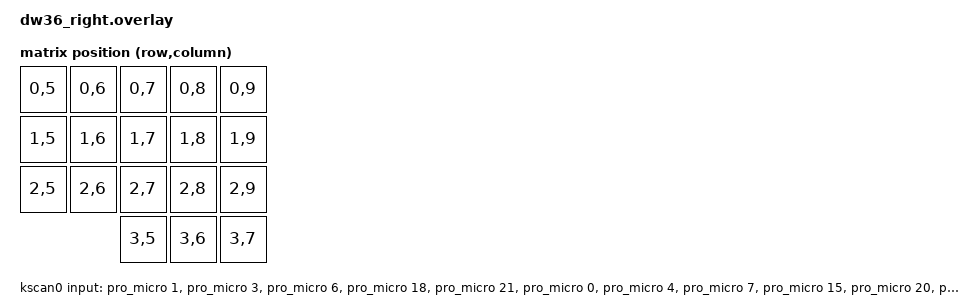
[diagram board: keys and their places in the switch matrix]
/*
 * Copyright (c) 2020 The ZMK Contributors
 *
 * SPDX-License-Identifier: MIT
 */

#include <dt-bindings/zmk/matrix_transform.h>

/ {
    chosen {
        zmk,kscan = &kscan0;
        zmk,matrix_transform = &default_transform;
    };

    default_transform: keymap_transform_0 {
        compatible = "zmk,matrix-transform";
        columns = <10>;
        rows = <4>;
// The keymap expects a unified layout, but each half will contribute its portion
        map = <
  RC(0,5) RC(0,6) RC(0,7) RC(0,8) RC(0,9)
  RC(1,5) RC(1,6) RC(1,7) RC(1,8) RC(1,9)
  RC(2,5) RC(2,6) RC(2,7) RC(2,8) RC(2,9)
                  RC(3,5) RC(3,6) RC(3,7)
        >;
    };

    kscan0: kscan {
        compatible = "zmk,kscan-gpio-direct";
        label = "KSCAN";
        // Right half provides exactly 18 keys for positions that will be used
        input-gpios
        // Order: right keys (0,5)-(0,9), then (1,5)-(1,9), etc.
        = <&pro_micro 1 (GPIO_ACTIVE_LOW | GPIO_PULL_UP)>   // (0,5) Y
        , <&pro_micro 3 (GPIO_ACTIVE_LOW | GPIO_PULL_UP)>   // (0,6) U
        , <&pro_micro 6 (GPIO_ACTIVE_LOW | GPIO_PULL_UP)>   // (0,7) I
        , <&pro_micro 18 (GPIO_ACTIVE_LOW | GPIO_PULL_UP)>  // (0,8) O
        , <&pro_micro 21 (GPIO_ACTIVE_LOW | GPIO_PULL_UP)>  // (0,9) P
        , <&pro_micro 0 (GPIO_ACTIVE_LOW | GPIO_PULL_UP)>   // (1,5) H
        , <&pro_micro 4 (GPIO_ACTIVE_LOW | GPIO_PULL_UP)>   // (1,6) J
        , <&pro_micro 7 (GPIO_ACTIVE_LOW | GPIO_PULL_UP)>   // (1,7) K
        , <&pro_micro 15 (GPIO_ACTIVE_LOW | GPIO_PULL_UP)>  // (1,8) L
        , <&pro_micro 20 (GPIO_ACTIVE_LOW | GPIO_PULL_UP)>  // (1,9) ;
        , <&pro_micro 2 (GPIO_ACTIVE_LOW | GPIO_PULL_UP)>   // (2,5) N
        , <&pro_micro 5 (GPIO_ACTIVE_LOW | GPIO_PULL_UP)>   // (2,6) M
        , <&pro_micro 8 (GPIO_ACTIVE_LOW | GPIO_PULL_UP)>   // (2,7) ,
        , <&pro_micro 14 (GPIO_ACTIVE_LOW | GPIO_PULL_UP)>  // (2,8) .
        , <&pro_micro 19 (GPIO_ACTIVE_LOW | GPIO_PULL_UP)>  // (2,9) /
        , <&pro_micro 10 (GPIO_ACTIVE_LOW | GPIO_PULL_UP)>  // (3,5) ENTER
        , <&pro_micro 16 (GPIO_ACTIVE_LOW | GPIO_PULL_UP)>  // (3,6) RAISE
        , <&pro_micro 9 (GPIO_ACTIVE_LOW | GPIO_PULL_UP)>   // (3,7) BKSP
        ;
    };    kscan0: kscan {
        compatible = "zmk,kscan-gpio-direct";
        label = "KSCAN";
        input-gpios
        // Right half - ONLY the 18 physical keys on this half  
        // These map to the RIGHT side positions in the matrix transform
        
        // Physical row 0 → Matrix row 0, columns 5-9
        = <&pro_micro 1 (GPIO_ACTIVE_LOW | GPIO_PULL_UP)>   // Y → RC(0,5)
        , <&pro_micro 3 (GPIO_ACTIVE_LOW | GPIO_PULL_UP)>   // U → RC(0,6)
        , <&pro_micro 6 (GPIO_ACTIVE_LOW | GPIO_PULL_UP)>   // I → RC(0,7)
        , <&pro_micro 18 (GPIO_ACTIVE_LOW | GPIO_PULL_UP)>  // O → RC(0,8)
        , <&pro_micro 21 (GPIO_ACTIVE_LOW | GPIO_PULL_UP)>  // P → RC(0,9)

        // Physical row 1 → Matrix row 1, columns 5-9
        , <&pro_micro 0 (GPIO_ACTIVE_LOW | GPIO_PULL_UP)>   // H → RC(1,5)
        , <&pro_micro 4 (GPIO_ACTIVE_LOW | GPIO_PULL_UP)>   // J → RC(1,6)
        , <&pro_micro 7 (GPIO_ACTIVE_LOW | GPIO_PULL_UP)>   // K → RC(1,7)
        , <&pro_micro 15 (GPIO_ACTIVE_LOW | GPIO_PULL_UP)>  // L → RC(1,8)
        , <&pro_micro 20 (GPIO_ACTIVE_LOW | GPIO_PULL_UP)>  // ; → RC(1,9)

        // Physical row 2 → Matrix row 2, columns 5-9
        , <&pro_micro 2 (GPIO_ACTIVE_LOW | GPIO_PULL_UP)>   // N → RC(2,5)
        , <&pro_micro 5 (GPIO_ACTIVE_LOW | GPIO_PULL_UP)>   // M → RC(2,6)
        , <&pro_micro 8 (GPIO_ACTIVE_LOW | GPIO_PULL_UP)>   // , → RC(2,7)
        , <&pro_micro 14 (GPIO_ACTIVE_LOW | GPIO_PULL_UP)>  // . → RC(2,8)
        , <&pro_micro 19 (GPIO_ACTIVE_LOW | GPIO_PULL_UP)>  // / → RC(2,9)

        // Physical thumb row → Matrix row 3, columns 5-7
        , <&pro_micro 10 (GPIO_ACTIVE_LOW | GPIO_PULL_UP)>  // ENT → RC(3,5)
        , <&pro_micro 16 (GPIO_ACTIVE_LOW | GPIO_PULL_UP)>  // RAISE → RC(3,6)
        , <&pro_micro 9 (GPIO_ACTIVE_LOW | GPIO_PULL_UP)>   // ALT → RC(3,7)
        ;
    };
};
